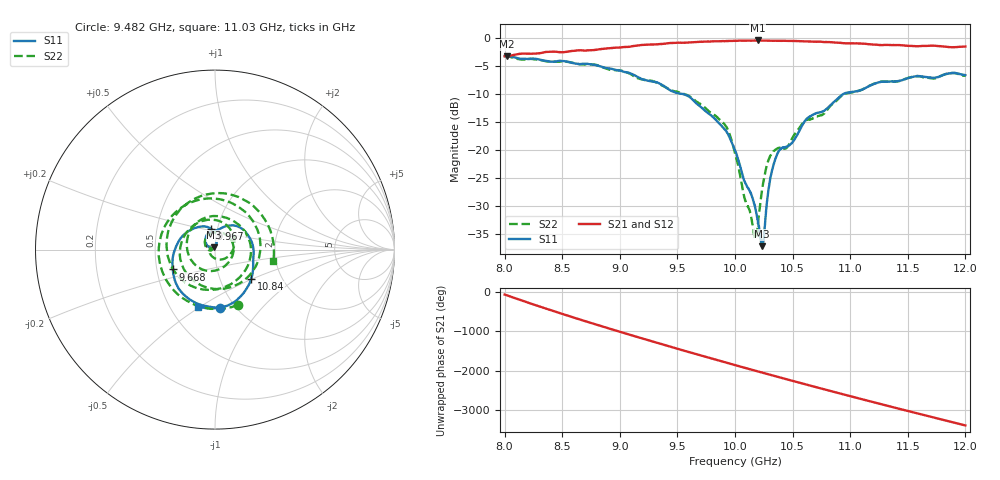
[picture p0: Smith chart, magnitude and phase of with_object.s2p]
!Agilent Technologies,E8362C,MY49020356,A.09.42.23
!Agilent E8362C: A.09.42.23
!Date: Monday, May 29, 2023 19:57:41
!Correction: S11(Full 2 Port(1,2))
!S21(Full 2 Port(1,2))
!S12(Full 2 Port(1,2))
!S22(Full 2 Port(1,2))
!S2P File: Measurements: S11, S21, S12, S22:
# Hz S  RI  R 50
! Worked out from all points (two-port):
!   1601 points, 8 GHz to 12 GHz, reference 50 ohm
!   highest |S21| = -0.41 dB at 10.2 GHz (marker M1); lowest = -3.2 dB at 8.018 GHz (marker M2)
!   |S21| within 3 dB of the highest: start of sweep to end of sweep
!   lowest |S11| = -37.2 dB at 10.23 GHz (marker M3), VSWR 1.03, Z = 49.6 + j1.3 ohm
!   |S11| at or under -10 dB: 9.548 GHz to 10.94 GHz (1.391 GHz wide, 13.6 % of centre)
!   |S22| runs from -35.8 to -3.2 dB; largest |S21 - S12| = 0.0051
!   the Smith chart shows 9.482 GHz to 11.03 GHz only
!   S11 on the Smith chart (normalised r, x): 9.482 GHz: 0.85, -0.62; 9.668 GHz: 0.61, -0.14; 9.967 GHz: 0.93, +0.22; 10.84 GHz: 1.41, -0.49; 11.03 GHz: 0.69, -0.49
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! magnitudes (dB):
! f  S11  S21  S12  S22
! 8 GHz  -3.2  -3.2  -3.2  -3.2
! 8.018 GHz  -3.2  -3.2  -3.2  -3.2
! 8.668 GHz  -4.6  -2.2  -2.2  -4.7
! 9.335 GHz  -8.0  -1.1  -1.1  -8.1
! 9.482 GHz  -9.7  -0.8  -0.8  -9.5
! 9.668 GHz  -11.7  -0.7  -0.7  -11.4
! 9.902 GHz  -16.1  -0.5  -0.5  -15.3
! 9.967 GHz  -18.4  -0.5  -0.5  -18.1
! 10 GHz  -20.0  -0.5  -0.5  -20.5
! 10.16 GHz  -29.6  -0.4  -0.4  -35.1
! 10.2 GHz  -32.6  -0.4  -0.4  -33.5
! 10.23 GHz  -37.2  -0.4  -0.4  -27.5
! 10.25 GHz  -35.2  -0.4  -0.4  -25.0
! 10.29 GHz  -27.6  -0.5  -0.5  -22.0
! 10.36 GHz  -21.1  -0.5  -0.5  -19.8
! 10.45 GHz  -19.4  -0.5  -0.5  -19.6
! 10.59 GHz  -15.4  -0.6  -0.6  -15.1
! 10.67 GHz  -13.8  -0.6  -0.6  -14.5
! 10.84 GHz  -11.7  -0.7  -0.7  -11.8
! 11.03 GHz  -9.6  -0.9  -0.9  -9.6
! 11.34 GHz  -7.8  -1.2  -1.2  -7.8
! 12 GHz  -6.6  -1.5  -1.5  -6.7
